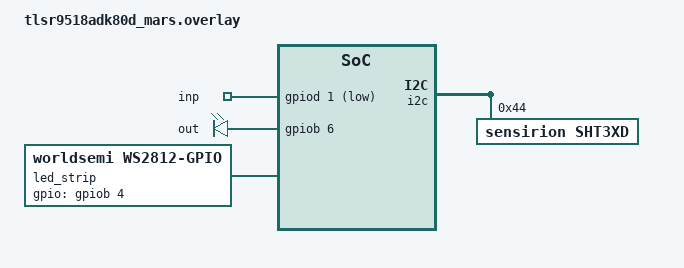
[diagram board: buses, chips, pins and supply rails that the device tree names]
#include <zephyr/dt-bindings/gpio/gpio.h>
#include <zephyr/dt-bindings/led/led.h>

/ {
	key_pool {
		compatible = "gpio-keys";

		inp {
			gpios = <&gpiod 1 (GPIO_ACTIVE_LOW | GPIO_PULL_UP)>,
					<&gpiod 3 (GPIO_ACTIVE_LOW | GPIO_PULL_UP)>;
		};
	};

	led_pool {
		compatible = "gpio-leds";

		out {
			gpios = <&gpiob 6 GPIO_ACTIVE_HIGH>;
		};
	};

	/delete-node/ pwm_pool;

	led_strip: ws2812 {
		compatible = "worldsemi,ws2812-gpio";

		chain-length = <1>; /* arbitrary; change at will */
		color-mapping = <LED_COLOR_ID_GREEN
				 LED_COLOR_ID_RED
				 LED_COLOR_ID_BLUE>;
		gpios = <&gpiob 4 0>;
	};
};

&gpioc {
	interrupts = <38 1>;
};

&gpiod {
	interrupts = <37 1>;
	status = "okay";
};

&pinctrl {
	/* Define I2C pins: SCL(PE0), SDA(PC2) */
	i2c_scl_pe0_default: i2c_scl_pe0_default {
		pinmux = <B9x_PINMUX_SET(B9x_PORT_E, B9x_PIN_0, B91_FUNC_A)>;
	};
	i2c_sda_pc2_default: i2c_sda_pc2_default {
		pinmux = <B9x_PINMUX_SET(B9x_PORT_C, B9x_PIN_2, B91_FUNC_A)>;
	};
};

&i2c {
	pinctrl-0 = <&i2c_scl_pe0_default &i2c_sda_pc2_default>;

	sht3xd@44 {
		compatible = "sensirion,sht3xd";
		reg = <0x44>;
	};
};
